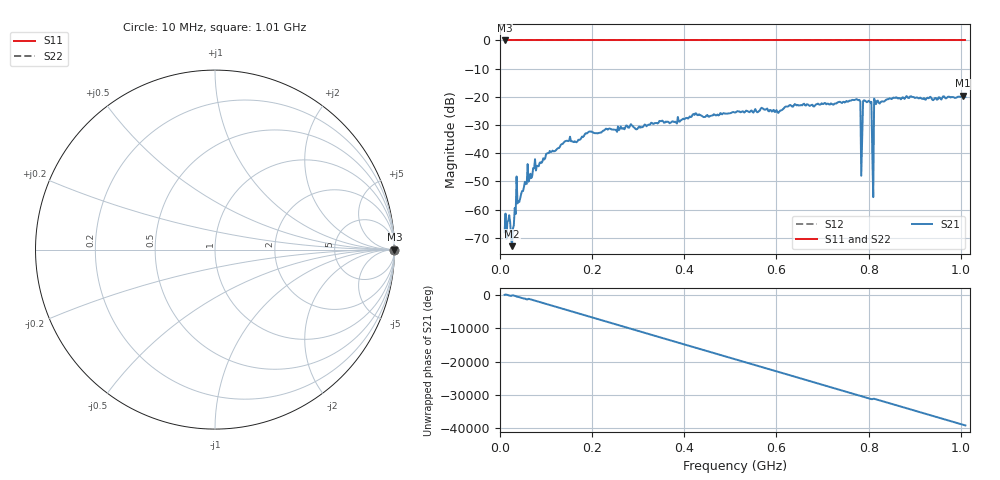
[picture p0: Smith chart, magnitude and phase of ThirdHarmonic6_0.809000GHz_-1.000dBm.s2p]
! 8/16/2025 2:56:59 AM
! C:\ANRITSUVNA\TEMP\TEMP.S2P
! CHANNEL.1
! TR.MEASUREMENT
! RAW.DATA
! RF.CORRECTION.OFF
! AVERAGING.OFF
! IF.BANDWIDTH: 5KHZ
! SWEEPTYPE:  FREQ.SWEEP(Linear)
! Reference Plane Port Info
! PORT:  PORT1  PORT2
! DISTANCE:  0  m  0  m
! TIME:  0  s  0  s
! PHASE.OFFSET:  0  deg.  0  deg.
! LOSS:  0  dB  0  dB
! REF.LOSS:  0  dB  0  dB
! REF.FREQ:  0  Hz  0  Hz
! Power Info
! POWER:  -20  dBm  -20  dBm
! EFF.POWER:  -20  dBm  -20  dBm
! SOURCE.ATTEN:  0  dB  0  dB
! TEST.ATTEN:  0  dB  0  dB
# GHZ S RI R 50.0
! FREQ.GHZ  S11RE  S11IM  S21RE  S21IM  S12RE  S12IM  S22RE  S22IM
!; PortSelection: Port_12
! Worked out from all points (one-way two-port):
!   501 points, 10 MHz to 1.01 GHz, reference 50 ohm
!   highest |S21| = -19.61 dB at 1.004 GHz (marker M1); lowest = -73.0 dB at 26 MHz (marker M2)
!   lowest |S11| = 0.0 dB at 10 MHz (marker M3)
!   |S11| at or under -10 dB: nowhere
!   |S22| runs from 0.0 to 0.0 dB; largest |S21 - S12| = 1.1
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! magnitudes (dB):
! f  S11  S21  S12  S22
! 10 MHz  0.0  -68.1  0.0  0.0
! 16 MHz  0.0  -64.4  0.0  0.0
! 26 MHz  0.0  -73.0  0.0  0.0
! 36 MHz  0.0  -48.3  0.0  0.0
! 76 MHz  0.0  -42.1  0.0  0.0
! 178 MHz  0.0  -34.1  0.0  0.0
! 344 MHz  0.0  -29.2  0.0  0.0
! 510 MHz  0.0  -25.6  0.0  0.0
! 678 MHz  0.0  -22.8  0.0  0.0
! 776 MHz  0.0  -21.1  0.0  0.0
! 778 MHz  0.0  -21.2  0.0  0.0
! 782 MHz  0.0  -21.7  0.0  0.0
! 786 MHz  0.0  -35.5  0.0  0.0
! 788 MHz  0.0  -21.5  0.0  0.0
! 792 MHz  0.0  -21.3  0.0  0.0
! 802 MHz  0.0  -21.6  0.0  0.0
! 806 MHz  0.0  -21.8  0.0  0.0
! 812 MHz  0.0  -20.6  0.0  0.0
! 816 MHz  0.0  -22.6  0.0  0.0
! 844 MHz  0.0  -20.7  0.0  0.0
! 1.004 GHz  0.0  -19.6  0.0  0.0
! 1.01 GHz  0.0  -20.1  0.0  0.0
